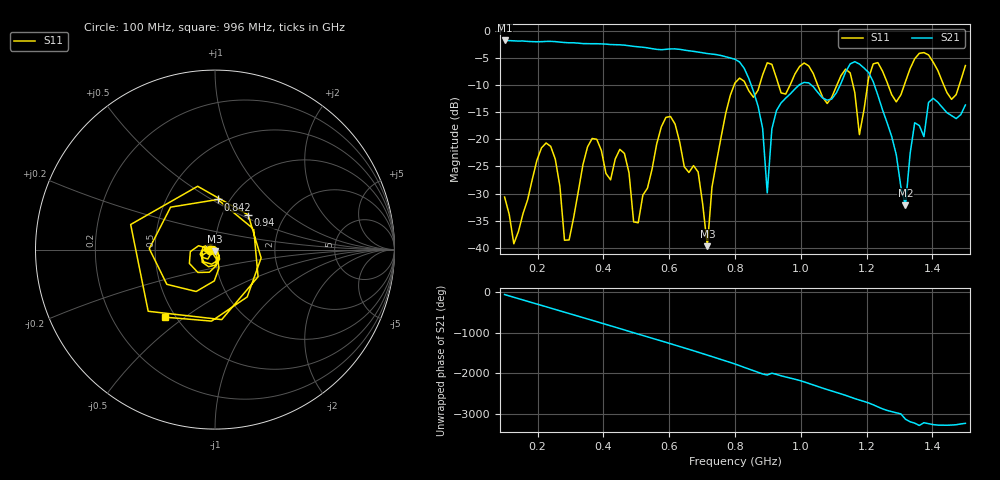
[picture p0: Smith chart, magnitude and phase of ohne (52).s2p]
! NanoVNA-App
! Date: 2025-09-26 09:55:48
! Start: 100MHz Stop: 1,5GHz Points: 101
! S-Parameter data: F S11 S21 S12 S22
# Hz S RI R 50
!  Frequency  S11_Real  S11_Imag  S21_Real  S21_Imag  S12_Real  S12_Imag  S22_Real  S22_Imag
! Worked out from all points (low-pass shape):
!   101 points, 100 MHz to 1.5 GHz, reference 50 ohm
!   highest |S21| = -1.79 dB at 100 MHz (marker M1); lowest = -32.2 dB at 1.318 GHz (marker M2)
!   |S21| within 3 dB of the highest: start of sweep to 771.8 MHz
!   lowest |S11| = -39.7 dB at 716 MHz (marker M3), VSWR 1.02, Z = 49.9 - j1.03 ohm
!   |S11| at or under -10 dB: start of sweep to 797.5 MHz; 833.5 MHz to 874.7 MHz (41.23 MHz wide, 4.83 % of centre); 1.051 GHz to 1.11 GHz (58.49 MHz wide, 5.41 % of centre)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
!   S12 and S22 are empty: the file has one direction only
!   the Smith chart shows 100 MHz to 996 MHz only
!   S11 on the Smith chart (normalised r, x): 100 MHz: 0.94, -0.01; 842 MHz: 0.88, +0.53; 940 MHz: 1.32, +0.55; 996 MHz: 0.44, -0.42
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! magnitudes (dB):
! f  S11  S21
! 100 MHz  -30.6  -1.8
! 128 MHz  -39.2  -1.9
! 226 MHz  -20.7  -2.0
! 296 MHz  -38.5  -2.2
! 338 MHz  -24.7  -2.4
! 464 MHz  -22.6  -2.7
! 506 MHz  -35.4  -3.0
! 576 MHz  -17.7  -3.5
! 688 MHz  -26.0  -3.9
! 716 MHz  -39.7  -4.2
! 800 MHz  -9.6  -5.3
! 842 MHz  -11.1  -8.8
! 898 MHz  -5.9  -29.9
! 940 MHz  -11.4  -13.3
! 996 MHz  -6.6  -9.9
! 1.038 GHz  -7.9  -10.3
! 1.178 GHz  -19.1  -6.1
! 1.22 GHz  -6.1  -9.4
! 1.276 GHz  -11.8  -19.5
! 1.318 GHz  -9.4  -32.2
! 1.346 GHz  -5.2  -16.9
! 1.5 GHz  -6.4  -13.7
